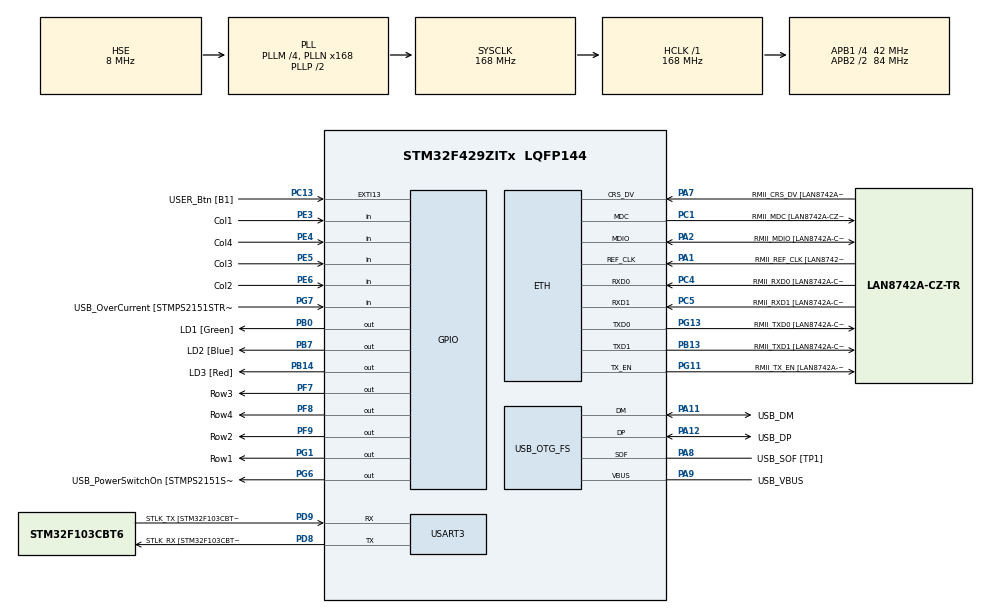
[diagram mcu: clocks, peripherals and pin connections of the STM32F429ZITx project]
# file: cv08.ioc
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ETH.MediaInterface=ETH_MEDIA_INTERFACE_RMII
ETH.PHY_Name=LAN8742A_PHY_ADDRESS
ETH.PHY_Value=0
ETH.PhyAddress=0
Mcu.Family=STM32F4
Mcu.Name=STM32F429ZITx
Mcu.Package=LQFP144
NVIC.PriorityGroup=NVIC_PRIORITYGROUP_4
NVIC.TIM3_IRQn=true\:0\:0\:false\:false\:true\:true\:true
PA1.GPIO_Label=RMII_REF_CLK [LAN8742A-CZ-TR_REFCLK0]
PA1.Mode=RMII
PA1.Signal=ETH_REF_CLK
PA10.GPIO_Label=USB_ID
PA10.Signal=USB_OTG_FS_ID
PA11.GPIO_Label=USB_DM
PA11.Mode=Device_Only
PA11.Signal=USB_OTG_FS_DM
PA12.GPIO_Label=USB_DP
PA12.Mode=Device_Only
PA12.Signal=USB_OTG_FS_DP
PA13.GPIO_Label=TMS
PA13.Mode=Serial_Wire
PA13.Signal=SYS_JTMS-SWDIO
PA14.GPIO_Label=TCK
PA14.Mode=Serial_Wire
PA14.Signal=SYS_JTCK-SWCLK
PA2.GPIO_Label=RMII_MDIO [LAN8742A-CZ-TR_MDIO]
PA2.Mode=RMII
PA2.Signal=ETH_MDIO
PA7.GPIO_Label=RMII_CRS_DV [LAN8742A-CZ-TR_CRS_DV]
PA7.Mode=RMII
PA7.Signal=ETH_CRS_DV
PA8.GPIO_Label=USB_SOF [TP1]
PA8.Mode=Activate_SOF_FS
PA8.Signal=USB_OTG_FS_SOF
PA9.GPIO_Label=USB_VBUS
PA9.Mode=Activate_VBUS
PA9.Signal=USB_OTG_FS_VBUS
PB0.GPIO_Label=LD1 [Green]
PB0.Signal=GPIO_Output
PB13.GPIO_Label=RMII_TXD1 [LAN8742A-CZ-TR_TXD1]
PB13.Mode=RMII
PB13.Signal=ETH_TXD1
PB14.GPIO_Label=LD3 [Red]
PB14.Signal=GPIO_Output
PB7.GPIO_Label=LD2 [Blue]
PB7.Signal=GPIO_Output
PC1.GPIO_Label=RMII_MDC [LAN8742A-CZ-TR_MDC]
PC1.Mode=RMII
PC1.Signal=ETH_MDC
PC13.GPIO_Label=USER_Btn [B1]
PC13.Signal=GPXTI13
PC14/OSC32_IN.Mode=LSE-External-Oscillator
PC14/OSC32_IN.Signal=RCC_OSC32_IN
PC15/OSC32_OUT.Mode=LSE-External-Oscillator
PC15/OSC32_OUT.Signal=RCC_OSC32_OUT
PC4.GPIO_Label=RMII_RXD0 [LAN8742A-CZ-TR_RXD0]
PC4.Mode=RMII
PC4.Signal=ETH_RXD0
PC5.GPIO_Label=RMII_RXD1 [LAN8742A-CZ-TR_RXD1]
PC5.Mode=RMII
PC5.Signal=ETH_RXD1
PD8.GPIO_Label=STLK_RX [STM32F103CBT6_PA3]
PD8.Mode=Asynchronous
PD8.Signal=USART3_TX
PD9.GPIO_Label=STLK_TX [STM32F103CBT6_PA2]
PD9.Mode=Asynchronous
PD9.Signal=USART3_RX
PE3.GPIO_Label=Col1
PE3.GPIO_PuPd=GPIO_PULLUP
PE3.Signal=GPIO_Input
PE4.GPIO_Label=Col4
PE4.GPIO_PuPd=GPIO_PULLUP
PE4.Signal=GPIO_Input
PE5.GPIO_Label=Col3
PE5.GPIO_PuPd=GPIO_PULLUP
PE5.Signal=GPIO_Input
PE6.GPIO_Label=Col2
PE6.GPIO_PuPd=GPIO_PULLUP
PE6.Signal=GPIO_Input
PF7.GPIO_Label=Row3
PF7.GPIO_ModeDefaultOutputPP=GPIO_MODE_OUTPUT_OD
PF7.Signal=GPIO_Output
PF8.GPIO_Label=Row4
PF8.GPIO_ModeDefaultOutputPP=GPIO_MODE_OUTPUT_OD
PF8.Signal=GPIO_Output
PF9.GPIO_Label=Row2
PF9.GPIO_ModeDefaultOutputPP=GPIO_MODE_OUTPUT_OD
PF9.Signal=GPIO_Output
PG1.GPIO_Label=Row1
PG1.GPIO_ModeDefaultOutputPP=GPIO_MODE_OUTPUT_OD
PG1.Signal=GPIO_Output
PG11.GPIO_Label=RMII_TX_EN [LAN8742A-CZ-TR_TXEN]
PG11.Mode=RMII
PG11.Signal=ETH_TX_EN
PG13.GPIO_Label=RMII_TXD0 [LAN8742A-CZ-TR_TXD0]
PG13.Mode=RMII
PG13.Signal=ETH_TXD0
PG6.GPIO_Label=USB_PowerSwitchOn [STMPS2151STR_EN]
PG6.Signal=GPIO_Output
PG7.GPIO_Label=USB_OverCurrent [STMPS2151STR_FAULT]
PG7.Signal=GPIO_Input
PH0/OSC_IN.GPIO_Label=MCO [STM32F103CBT6_PA8]
PH0/OSC_IN.Mode=HSE-External-Clock-Source
PH0/OSC_IN.Signal=RCC_OSC_IN
PH1/OSC_OUT.Mode=HSE-External-Clock-Source
PH1/OSC_OUT.Signal=RCC_OSC_OUT
ProjectManager.HeapSize=0x200
ProjectManager.StackSize=0x400
ProjectManager.TargetToolchain=STM32CubeIDE
RCC.48MHZClocksFreq_Value=48000000
RCC.AHBFreq_Value=168000000
RCC.APB1CLKDivider=RCC_HCLK_DIV4
RCC.APB1Freq_Value=42000000
RCC.APB1TimFreq_Value=84000000
RCC.APB2CLKDivider=RCC_HCLK_DIV2
RCC.APB2Freq_Value=84000000
RCC.APB2TimCLKDivider=2
RCC.APB2TimFreq_Value=168000000
RCC.CortexFreq_Value=168000000
RCC.HCLKFreq_Value=168000000
RCC.HSE_VALUE=8000000
RCC.HSI_VALUE=16000000
RCC.PLLM=4
RCC.PLLMUL=RCC_PLL_MUL9
RCC.PLLN=168
RCC.PLLQ=7
RCC.PRESCALERUSB=RCC_USBCLKSOURCE_PLL_DIV1_5
RCC.SYSCLKFreq_VALUE=168000000
RCC.SYSCLKSource=RCC_SYSCLKSOURCE_PLLCLK
RCC.SYSCLKSourceVirtual=RCC_SYSCLKSOURCE_PLLCLK
RCC.USBFreq_Value=48000000
RCC.VCOOutputFreq_Value=336000000
TIM3.AutoReloadPreload=TIM_AUTORELOAD_PRELOAD_ENABLE
TIM3.Period=99
TIM3.Prescaler=8399
USART3.VirtualMode=VM_ASYNC
USB_OTG_FS.VirtualMode=Device_Only
VP_TIM3_VS_ClockSourceINT.Mode=Internal
board=NUCLEO-F429ZI

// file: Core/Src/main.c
/* USER CODE BEGIN Header */
/**
 ******************************************************************************
 * @file           : main.c
 * @brief          : Main program body
 ******************************************************************************
 * @attention
 *
 * <h2><center>&copy; Copyright (c) 2021 STMicroelectronics.
 * All rights reserved.</center></h2>
 *
 * This software component is licensed by ST under BSD 3-Clause license,
 * the "License"; You may not use this file except in compliance with the
 * License. You may obtain a copy of the License at:
 *                        opensource.org/licenses/BSD-3-Clause
 *
 ******************************************************************************
 */
/* USER CODE END Header */
#include "main.h"

/* USER CODE BEGIN Includes */
#include <stdio.h>
/* USER CODE END Includes */

/* USER CODE BEGIN PD */
#define KEYLOCK_TIMEOUT 10000
/* USER CODE END PD */

ETH_HandleTypeDef heth;

TIM_HandleTypeDef htim3;

UART_HandleTypeDef huart3;

PCD_HandleTypeDef hpcd_USB_OTG_FS;

/* USER CODE BEGIN PV */
static volatile int8_t key;
/* USER CODE END PV */

void SystemClock_Config(void);
static void MX_GPIO_Init(void);
static void MX_ETH_Init(void);
static void MX_USART3_UART_Init(void);
static void MX_USB_OTG_FS_PCD_Init(void);
static void MX_TIM3_Init(void);

/* USER CODE BEGIN 0 */
int __io_putchar(int ch) {
	ITM_SendChar(ch);
	return 0;
}

void HAL_TIM_PeriodElapsedCallback(TIM_HandleTypeDef *htim) {
	static int row = 0;
	static const int keyboard[4][4] = { { 1, 2, 3, 21 }, { 4, 5, 6, 22 }, { 7,
			8, 9, 23 }, { 11, 0, 12, 24 }, };
	if (key == -1) {
		if (HAL_GPIO_ReadPin(Col1_GPIO_Port, Col1_Pin) == GPIO_PIN_RESET)
			key = keyboard[row][0];
		if (HAL_GPIO_ReadPin(Col2_GPIO_Port, Col2_Pin) == GPIO_PIN_RESET)
			key = keyboard[row][1];
		if (HAL_GPIO_ReadPin(Col3_GPIO_Port, Col3_Pin) == GPIO_PIN_RESET)
			key = keyboard[row][1];
		if (HAL_GPIO_ReadPin(Col4_GPIO_Port, Col4_Pin) == GPIO_PIN_RESET)
			key = keyboard[row][1];
	}
	HAL_GPIO_WritePin(Row1_GPIO_Port, Row1_Pin, GPIO_PIN_SET);
	HAL_GPIO_WritePin(Row2_GPIO_Port, Row2_Pin, GPIO_PIN_SET);
	HAL_GPIO_WritePin(Row3_GPIO_Port, Row3_Pin, GPIO_PIN_SET);
	HAL_GPIO_WritePin(Row4_GPIO_Port, Row4_Pin, GPIO_PIN_SET);
	switch (row) {
	case 0:
		row = 1;
		HAL_GPIO_WritePin(Row1_GPIO_Port, Row1_Pin, GPIO_PIN_RESET);
		break;
	case 1:
		row = 2;
		HAL_GPIO_WritePin(Row2_GPIO_Port, Row2_Pin, GPIO_PIN_RESET);
		break;
	case 2:
		row = 3;
		HAL_GPIO_WritePin(Row3_GPIO_Port, Row3_Pin, GPIO_PIN_RESET);
		break;
	case 3:
		row = 0;
		HAL_GPIO_WritePin(Row4_GPIO_Port, Row4_Pin, GPIO_PIN_RESET);
		break;
	}
}
/* USER CODE END 0 */

int main(void) {

	/* MCU Configuration--------------------------------------------------------*/

	/* Reset of all peripherals, Initializes the Flash interface and the Systick. */
	HAL_Init();

	/* Configure the system clock */
	SystemClock_Config();

	/* Initialize all configured peripherals */
	MX_GPIO_Init();
	MX_ETH_Init();
	MX_USART3_UART_Init();
	MX_USB_OTG_FS_PCD_Init();
	MX_TIM3_Init();
	/* USER CODE BEGIN 2 */
	HAL_TIM_Base_Start_IT(&htim3);
	static uint32_t inputStartTime = 0;
	// Keylock status codes: 0 idle, 1 input in progress
	uint8_t keylockStatus = 0;
	uint8_t keylockPosition = 0;
	const uint8_t keylockLength = 6;
	const uint8_t keylockPin[6] = { 5, 4, 7, 2, 6, 3 };

	/* USER CODE END 2 */

	/* Infinite loop */
	while (1) {

		/* USER CODE BEGIN 3 */
		//HAL_GPIO_TogglePin(LD1_GPIO_Port, LD1_Pin);
		//HAL_Delay(250);
		if (key != -1) {
			if (keylockStatus == 0) {
				keylockStatus = 1;
				inputStartTime = HAL_GetTick();
			}

			if (key == keylockPin[keylockPosition]) {
				printf("Key ");
				printf(key);
				printf(" is correct.\n");
				keylockPosition++;
				if (keylockPosition == (keylockLength - 1)) {
					printf("The code was correctly entered. UNLOCKED.\n");
					keylockStatus = 2;
					inputStartTime = HAL_GetTick();
					keylockPosition = 0;
				}
			} else {
				printf("Input key ");
				printf(key);
				printf(" was incorrect. Please start the input again.\n");
				keylockStatus = 0;
				keylockPosition = 0;
			}

		}

	}
	if (keylockStatus == 1) {
		if (HAL_GetTick() >= inputStartTime + KEYLOCK_TIMEOUT) {
			printf("Key lock input timeout.\n");
			keylockStatus = 0;
			keylockPosition = 0;
		}
	}
	if (keylockStatus == 2) {
		if (HAL_GetTick() >= inputStartTime + KEYLOCK_TIMEOUT) {
			printf("The time for unlocked lock is up. LOCKING.\n");
			keylockStatus = 0;
			keylockPosition = 0;
		}
	}
	/* USER CODE END 3 */
}

void SystemClock_Config(void) {
	RCC_OscInitTypeDef RCC_OscInitStruct = { 0 };
	RCC_ClkInitTypeDef RCC_ClkInitStruct = { 0 };

	/** Configure the main internal regulator output voltage
	 */
	__HAL_RCC_PWR_CLK_ENABLE();
	__HAL_PWR_VOLTAGESCALING_CONFIG(PWR_REGULATOR_VOLTAGE_SCALE1);
	/** Initializes the RCC Oscillators according to the specified parameters
	 * in the RCC_OscInitTypeDef structure.
	 */
	RCC_OscInitStruct.OscillatorType = RCC_OSCILLATORTYPE_HSE;
	RCC_OscInitStruct.HSEState = RCC_HSE_BYPASS;
	RCC_OscInitStruct.PLL.PLLState = RCC_PLL_ON;
	RCC_OscInitStruct.PLL.PLLSource = RCC_PLLSOURCE_HSE;
	RCC_OscInitStruct.PLL.PLLM = 4;
	RCC_OscInitStruct.PLL.PLLN = 168;
	RCC_OscInitStruct.PLL.PLLP = RCC_PLLP_DIV2;
	RCC_OscInitStruct.PLL.PLLQ = 7;
	if (HAL_RCC_OscConfig(&RCC_OscInitStruct) != HAL_OK) {
		Error_Handler();
	}
	/** Initializes the CPU, AHB and APB buses clocks
	 */
	RCC_ClkInitStruct.ClockType = RCC_CLOCKTYPE_HCLK | RCC_CLOCKTYPE_SYSCLK
			| RCC_CLOCKTYPE_PCLK1 | RCC_CLOCKTYPE_PCLK2;
	RCC_ClkInitStruct.SYSCLKSource = RCC_SYSCLKSOURCE_PLLCLK;
	RCC_ClkInitStruct.AHBCLKDivider = RCC_SYSCLK_DIV1;
	RCC_ClkInitStruct.APB1CLKDivider = RCC_HCLK_DIV4;
	RCC_ClkInitStruct.APB2CLKDivider = RCC_HCLK_DIV2;

	if (HAL_RCC_ClockConfig(&RCC_ClkInitStruct, FLASH_LATENCY_5) != HAL_OK) {
		Error_Handler();
	}
}

static void MX_ETH_Init(void) {

	static uint8_t MACAddr[6];

	heth.Instance = ETH;
	heth.Init.AutoNegotiation = ETH_AUTONEGOTIATION_ENABLE;
	heth.Init.Speed = ETH_SPEED_100M;
	heth.Init.DuplexMode = ETH_MODE_FULLDUPLEX;
	heth.Init.PhyAddress = LAN8742A_PHY_ADDRESS;
	MACAddr[0] = 0x00;
	MACAddr[1] = 0x80;
	MACAddr[2] = 0xE1;
	MACAddr[3] = 0x00;
	MACAddr[4] = 0x00;
	MACAddr[5] = 0x00;
	heth.Init.MACAddr = &MACAddr[0];
	heth.Init.RxMode = ETH_RXPOLLING_MODE;
	heth.Init.ChecksumMode = ETH_CHECKSUM_BY_HARDWARE;
	heth.Init.MediaInterface = ETH_MEDIA_INTERFACE_RMII;

	if (HAL_ETH_Init(&heth) != HAL_OK) {
		Error_Handler();
	}

}

static void MX_TIM3_Init(void) {

	TIM_ClockConfigTypeDef sClockSourceConfig = { 0 };
	TIM_MasterConfigTypeDef sMasterConfig = { 0 };

	htim3.Instance = TIM3;
	htim3.Init.Prescaler = 8399;
	htim3.Init.CounterMode = TIM_COUNTERMODE_UP;
	htim3.Init.Period = 99;
	htim3.Init.ClockDivision = TIM_CLOCKDIVISION_DIV1;
	htim3.Init.AutoReloadPreload = TIM_AUTORELOAD_PRELOAD_ENABLE;
	if (HAL_TIM_Base_Init(&htim3) != HAL_OK) {
		Error_Handler();
	}
	sClockSourceConfig.ClockSource = TIM_CLOCKSOURCE_INTERNAL;
	if (HAL_TIM_ConfigClockSource(&htim3, &sClockSourceConfig) != HAL_OK) {
		Error_Handler();
	}
	sMasterConfig.MasterOutputTrigger = TIM_TRGO_RESET;
	sMasterConfig.MasterSlaveMode = TIM_MASTERSLAVEMODE_DISABLE;
	if (HAL_TIMEx_MasterConfigSynchronization(&htim3, &sMasterConfig)
			!= HAL_OK) {
		Error_Handler();
	}

}

static void MX_USART3_UART_Init(void) {

	huart3.Instance = USART3;
	huart3.Init.BaudRate = 115200;
	huart3.Init.WordLength = UART_WORDLENGTH_8B;
	huart3.Init.StopBits = UART_STOPBITS_1;
	huart3.Init.Parity = UART_PARITY_NONE;
	huart3.Init.Mode = UART_MODE_TX_RX;
	huart3.Init.HwFlowCtl = UART_HWCONTROL_NONE;
	huart3.Init.OverSampling = UART_OVERSAMPLING_16;
	if (HAL_UART_Init(&huart3) != HAL_OK) {
		Error_Handler();
	}

}

static void MX_USB_OTG_FS_PCD_Init(void) {

	hpcd_USB_OTG_FS.Instance = USB_OTG_FS;
	hpcd_USB_OTG_FS.Init.dev_endpoints = 4;
	hpcd_USB_OTG_FS.Init.speed = PCD_SPEED_FULL;
	hpcd_USB_OTG_FS.Init.dma_enable = DISABLE;
	hpcd_USB_OTG_FS.Init.phy_itface = PCD_PHY_EMBEDDED;
	hpcd_USB_OTG_FS.Init.Sof_enable = ENABLE;
	hpcd_USB_OTG_FS.Init.low_power_enable = DISABLE;
	hpcd_USB_OTG_FS.Init.lpm_enable = DISABLE;
	hpcd_USB_OTG_FS.Init.vbus_sensing_enable = ENABLE;
	hpcd_USB_OTG_FS.Init.use_dedicated_ep1 = DISABLE;
	if (HAL_PCD_Init(&hpcd_USB_OTG_FS) != HAL_OK) {
		Error_Handler();
	}

}

static void MX_GPIO_Init(void) {
	GPIO_InitTypeDef GPIO_InitStruct = { 0 };

	/* GPIO Ports Clock Enable */
	__HAL_RCC_GPIOE_CLK_ENABLE();
	__HAL_RCC_GPIOC_CLK_ENABLE();
	__HAL_RCC_GPIOF_CLK_ENABLE();
	__HAL_RCC_GPIOH_CLK_ENABLE();
	__HAL_RCC_GPIOA_CLK_ENABLE();
	__HAL_RCC_GPIOB_CLK_ENABLE();
	__HAL_RCC_GPIOG_CLK_ENABLE();
	__HAL_RCC_GPIOD_CLK_ENABLE();

	/*Configure GPIO pin Output Level */
	HAL_GPIO_WritePin(GPIOF, Row3_Pin | Row4_Pin | Row2_Pin, GPIO_PIN_RESET);

	/*Configure GPIO pin Output Level */
	HAL_GPIO_WritePin(GPIOB, LD1_Pin | LD3_Pin | LD2_Pin, GPIO_PIN_RESET);

	/*Configure GPIO pin Output Level */
	HAL_GPIO_WritePin(GPIOG, Row1_Pin | USB_PowerSwitchOn_Pin, GPIO_PIN_RESET);

	/*Configure GPIO pins : Col1_Pin Col4_Pin Col3_Pin Col2_Pin */
	GPIO_InitStruct.Pin = Col1_Pin | Col4_Pin | Col3_Pin | Col2_Pin;
	GPIO_InitStruct.Mode = GPIO_MODE_INPUT;
	GPIO_InitStruct.Pull = GPIO_PULLUP;
	HAL_GPIO_Init(GPIOE, &GPIO_InitStruct);

	/*Configure GPIO pin : USER_Btn_Pin */
	GPIO_InitStruct.Pin = USER_Btn_Pin;
	GPIO_InitStruct.Mode = GPIO_MODE_IT_RISING;
	GPIO_InitStruct.Pull = GPIO_NOPULL;
	HAL_GPIO_Init(USER_Btn_GPIO_Port, &GPIO_InitStruct);

	/*Configure GPIO pins : Row3_Pin Row4_Pin Row2_Pin */
	GPIO_InitStruct.Pin = Row3_Pin | Row4_Pin | Row2_Pin;
	GPIO_InitStruct.Mode = GPIO_MODE_OUTPUT_OD;
	GPIO_InitStruct.Pull = GPIO_NOPULL;
	GPIO_InitStruct.Speed = GPIO_SPEED_FREQ_LOW;
	HAL_GPIO_Init(GPIOF, &GPIO_InitStruct);

	/*Configure GPIO pins : LD1_Pin LD3_Pin LD2_Pin */
	GPIO_InitStruct.Pin = LD1_Pin | LD3_Pin | LD2_Pin;
	GPIO_InitStruct.Mode = GPIO_MODE_OUTPUT_PP;
	GPIO_InitStruct.Pull = GPIO_NOPULL;
	GPIO_InitStruct.Speed = GPIO_SPEED_FREQ_LOW;
	HAL_GPIO_Init(GPIOB, &GPIO_InitStruct);

	/*Configure GPIO pin : Row1_Pin */
	GPIO_InitStruct.Pin = Row1_Pin;
	GPIO_InitStruct.Mode = GPIO_MODE_OUTPUT_OD;
	GPIO_InitStruct.Pull = GPIO_NOPULL;
	GPIO_InitStruct.Speed = GPIO_SPEED_FREQ_LOW;
	HAL_GPIO_Init(Row1_GPIO_Port, &GPIO_InitStruct);

	/*Configure GPIO pin : USB_PowerSwitchOn_Pin */
	GPIO_InitStruct.Pin = USB_PowerSwitchOn_Pin;
	GPIO_InitStruct.Mode = GPIO_MODE_OUTPUT_PP;
	GPIO_InitStruct.Pull = GPIO_NOPULL;
	GPIO_InitStruct.Speed = GPIO_SPEED_FREQ_LOW;
	HAL_GPIO_Init(USB_PowerSwitchOn_GPIO_Port, &GPIO_InitStruct);

	/*Configure GPIO pin : USB_OverCurrent_Pin */
	GPIO_InitStruct.Pin = USB_OverCurrent_Pin;
	GPIO_InitStruct.Mode = GPIO_MODE_INPUT;
	GPIO_InitStruct.Pull = GPIO_NOPULL;
	HAL_GPIO_Init(USB_OverCurrent_GPIO_Port, &GPIO_InitStruct);

}

void Error_Handler(void) {
	__disable_irq();
	while (1) {
	}
}

/************************ (C) COPYRIGHT STMicroelectronics *****END OF FILE****/
